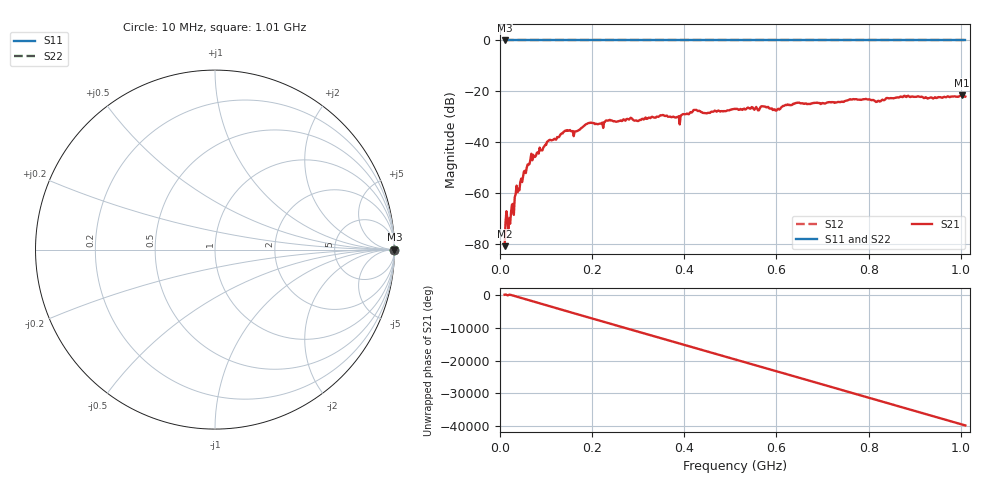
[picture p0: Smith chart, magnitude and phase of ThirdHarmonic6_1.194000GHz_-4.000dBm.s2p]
! 8/16/2025 12:17:55 PM
! C:\ANRITSUVNA\TEMP\TEMP.S2P
! CHANNEL.1
! TR.MEASUREMENT
! RAW.DATA
! RF.CORRECTION.OFF
! AVERAGING.OFF
! IF.BANDWIDTH: 5KHZ
! SWEEPTYPE:  FREQ.SWEEP(Linear)
! Reference Plane Port Info
! PORT:  PORT1  PORT2
! DISTANCE:  0  m  0  m
! TIME:  0  s  0  s
! PHASE.OFFSET:  0  deg.  0  deg.
! LOSS:  0  dB  0  dB
! REF.LOSS:  0  dB  0  dB
! REF.FREQ:  0  Hz  0  Hz
! Power Info
! POWER:  -20  dBm  -20  dBm
! EFF.POWER:  -20  dBm  -20  dBm
! SOURCE.ATTEN:  0  dB  0  dB
! TEST.ATTEN:  0  dB  0  dB
# GHZ S RI R 50.0
! FREQ.GHZ  S11RE  S11IM  S21RE  S21IM  S12RE  S12IM  S22RE  S22IM
!; PortSelection: Port_12
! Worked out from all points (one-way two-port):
!   501 points, 10 MHz to 1.01 GHz, reference 50 ohm
!   highest |S21| = -21.57 dB at 1.002 GHz (marker M1); lowest = -80.8 dB at 10 MHz (marker M2)
!   lowest |S11| = 0.0 dB at 10 MHz (marker M3)
!   |S11| at or under -10 dB: nowhere
!   |S22| runs from 0.0 to 0.0 dB; largest |S21 - S12| = 1.1
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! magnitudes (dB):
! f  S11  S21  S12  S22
! 10 MHz  0.0  -80.8  0.0  0.0
! 16 MHz  0.0  -70.0  0.0  0.0
! 20 MHz  0.0  -69.9  0.0  0.0
! 26 MHz  0.0  -64.5  0.0  0.0
! 36 MHz  0.0  -57.0  0.0  0.0
! 70 MHz  0.0  -47.1  0.0  0.0
! 106 MHz  0.0  -39.2  0.0  0.0
! 142 MHz  0.0  -35.4  0.0  0.0
! 164 MHz  0.0  -35.7  0.0  0.0
! 178 MHz  0.0  -34.2  0.0  0.0
! 196 MHz  0.0  -32.2  0.0  0.0
! 344 MHz  0.0  -30.0  0.0  0.0
! 386 MHz  0.0  -30.0  0.0  0.0
! 424 MHz  0.0  -27.3  0.0  0.0
! 450 MHz  0.0  -28.5  0.0  0.0
! 510 MHz  0.0  -26.9  0.0  0.0
! 572 MHz  0.0  -25.9  0.0  0.0
! 596 MHz  0.0  -27.0  0.0  0.0
! 678 MHz  0.0  -24.7  0.0  0.0
! 844 MHz  0.0  -22.7  0.0  0.0
! 1.002 GHz  0.0  -21.6  0.0  0.0
! 1.01 GHz  0.0  -22.0  0.0  0.0
